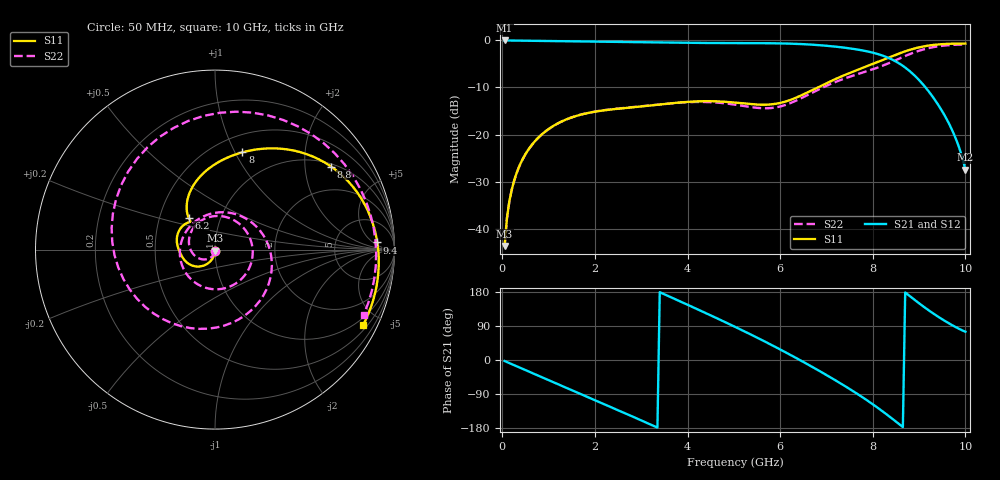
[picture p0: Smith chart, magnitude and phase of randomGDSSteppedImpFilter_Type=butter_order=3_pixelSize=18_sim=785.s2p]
! freq	dB(S11)	phase(S11)	dB(S12)	phase(S12)
!  dB(S21)	phase(S21)	dB(S22)	phase(S22)
!S-par simulation data
#  GHz  S  DB  R 50
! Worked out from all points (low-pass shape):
!   200 points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, 50 MHz to 10 GHz, reference 50 ohm
!   highest |S21| = -0.01 dB at 50 MHz (marker M1); lowest = -27.5 dB at 10 GHz (marker M2)
!   |S21| within 3 dB of the highest: start of sweep to 8.145 GHz
!   lowest |S11| = -43.7 dB at 50 MHz (marker M3), VSWR 1.01, Z = 50 - j0.653 ohm
!   |S11| at or under -10 dB: start of sweep to 6.808 GHz
!   |S22| runs from -43.7 to -0.9 dB; largest |S21 - S12| = 0
!   S11 on the Smith chart (normalised r, x): 50 MHz: 1.00, -0.01; 6.2 GHz: 0.70, +0.26; 8 GHz: 0.68, +1.07; 8.8 GHz: 1.08, +2.73; 9.4 GHz: 17, +7; 10 GHz: 0.68, -4.04
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0.05  -43.71 -89.8  -0.01 -2.7  -0.01 -2.7  -43.74 -91.5
0.1  -37.82 -92.6  -0.01 -5.4  -0.01 -5.4  -37.85 -95.8
0.2  -31.89 -97.2  -0.02 -10.7  -0.02 -10.7  -31.93 -103.5
0.5  -24.17 -109.1  -0.05 -26.6  -0.05 -26.6  -24.21 -125.1
1.15  -17.90 -132.4  -0.14 -61.0  -0.14 -61.0  -17.91 -171.4
1.75  -15.64 -150.7  -0.23 -92.6  -0.23 -92.6  -15.63 143.6
2.65  -14.37 -171.2  -0.33 -140.5  -0.33 -140.5  -14.32 68.8
3.4  -13.61 175.2  -0.43 178.9  -0.43 178.9  -13.59 2.1
4.35  -12.92 154.3  -0.54 126.3  -0.54 126.3  -13.08 -80.9
5.05  -13.23 138.6  -0.57 86.1  -0.57 86.1  -13.69 -145.3
5.6  -13.66 131.8  -0.58 53.0  -0.58 53.0  -14.40 153.9
6.2  -12.72 129.5  -0.68 14.9  -0.68 14.9  -13.41 77.2
6.7  -10.52 121.9  -0.91 -18.7  -0.91 -18.7  -11.06 17.3
7.4  -7.33 98.7  -1.55 -68.9  -1.55 -68.9  -8.07 -59.9
8  -4.99 74.2  -2.60 -116.8  -2.60 -116.8  -6.13 -133.9
8.35  -3.61 58.7  -3.75 -148.2  -3.75 -148.2  -4.82 175.7
8.55  -2.84 48.9  -4.77 -167.3  -4.77 -167.3  -3.96 145.7
8.8  -1.99 35.6  -6.54 168.6  -6.54 168.6  -2.90 108.8
9.1  -1.26 18.9  -9.52 140.5  -9.52 140.5  -1.89 68.3
9.4  -0.87 2.5  -13.49 115.1  -13.49 115.1  -1.27 33.3
9.7  -0.70 -12.8  -18.78 92.8  -18.78 92.8  -0.96 3.2
10  -0.67 -27.1  -27.50 74.7  -27.50 74.7  -0.87 -23.7
